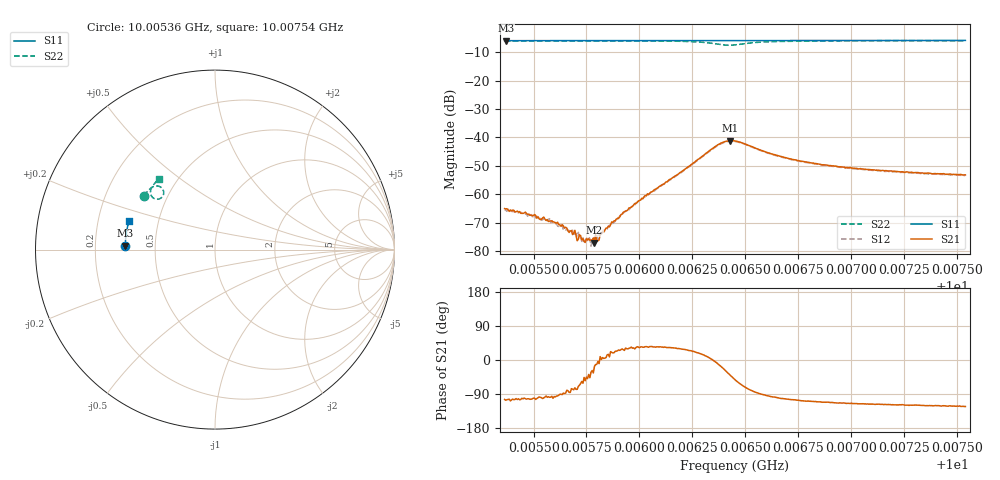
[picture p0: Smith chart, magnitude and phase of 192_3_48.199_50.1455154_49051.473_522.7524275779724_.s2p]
#  HZ  S  RI  R  50.00
! Rohde & Schwarz Vector Network Analyzer
! Rohde-Schwarz,ZNB20-2Port,1311601062101988,3.16
! Created: UTC 3/20/2024, 11:44:41 AM
! freq[Hz]  re:S11  im:S11  re:S21  im:S21  re:S12  im:S12  re:S22  im:S22
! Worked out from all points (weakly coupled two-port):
!   401 points, 10.00536 GHz to 10.00754 GHz, reference 50 ohm
!   highest |S21| = -41.09 dB at 10.00643 GHz (marker M1); lowest = -76.9 dB at 10.00579 GHz (marker M2)
!   lowest |S11| = -6.0 dB at 10.00537 GHz (marker M3), VSWR 3.00, Z = 16.7 + j0.956 ohm
!   |S11| at or under -10 dB: nowhere
!   |S22| runs from -7.6 to -6.0 dB; largest |S21 - S12| = 0.00052
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1.0005363e10  -0.5 0.0213  -0.000137 -0.000548  -9.93e-05 -0.000525  -0.3954 0.2995
1.0005368e10  -0.4999 0.0215  -0.000154 -0.000533  -0.000112 -0.000518  -0.3954 0.2998
1.0005499e10  -0.4997 0.0299  -7.97e-05 -0.000419  -4.44e-05 -0.000407  -0.3897 0.3076
1.0005581e10  -0.4995 0.0354  -4.83e-05 -0.00034  -1.22e-05 -0.000318  -0.3861 0.3123
1.0005646e10  -0.4994 0.0396  6.25e-06 -0.000256  3.28e-05 -0.000234  -0.3829 0.3165
1.0005706e10  -0.4991 0.0435  3.38e-05 -0.000151  6.24e-05 -0.000175  -0.3799 0.3202
1.0005728e10  -0.4991 0.0449  8.82e-05 -0.000133  5.87e-05 -0.000138  -0.3788 0.3214
1.0005739e10  -0.499 0.0456  0.000104 -0.000109  7.98e-05 -0.000125  -0.3782 0.3222
1.0005755e10  -0.4989 0.0468  0.000104 -0.000121  0.000123 -9.5e-05  -0.3773 0.3232
1.0005777e10  -0.4989 0.0481  0.00014 -7.36e-05  0.000148 -6.32e-05  -0.3762 0.3246
1.0005788e10  -0.4987 0.0489  0.000136 -4.05e-05  0.000173 -2.86e-05  -0.3755 0.3252
1.0005809e10  -0.4988 0.0502  0.000157 -2.65e-05  0.000206 -2.44e-05  -0.3743 0.3268
1.0005831e10  -0.4986 0.0517  0.000217 1.56e-05  0.000236 3.94e-05  -0.3732 0.328
1.0005924e10  -0.4982 0.0576  0.000433 0.000222  0.000405 0.000238  -0.3671 0.3342
1.0006092e10  -0.497 0.0686  0.00113 0.000773  0.00105 0.000801  -0.3523 0.3461
1.0006365e10  -0.4943 0.0859  0.00711 -0.000886  0.00696 -0.000554  -0.2879 0.3296
1.000643e10  -0.4934 0.0895  0.00668 -0.00577  0.00683 -0.00529  -0.3 0.2879
1.0006452e10  -0.4934 0.0909  0.00534 -0.00682  0.00557 -0.00646  -0.3141 0.2814
1.0006642e10  -0.492 0.1031  -0.000704 -0.00487  -0.000495 -0.00481  -0.3596 0.3228
1.0006816e10  -0.4901 0.1142  -0.00115 -0.00338  -0.000992 -0.00335  -0.3521 0.3462
1.0007181e10  -0.4849 0.1373  -0.0012 -0.00229  -0.00107 -0.00226  -0.3331 0.3726
1.0007541e10  -0.4789 0.1595  -0.0012 -0.00186  -0.00108 -0.00189  -0.3144 0.3915
